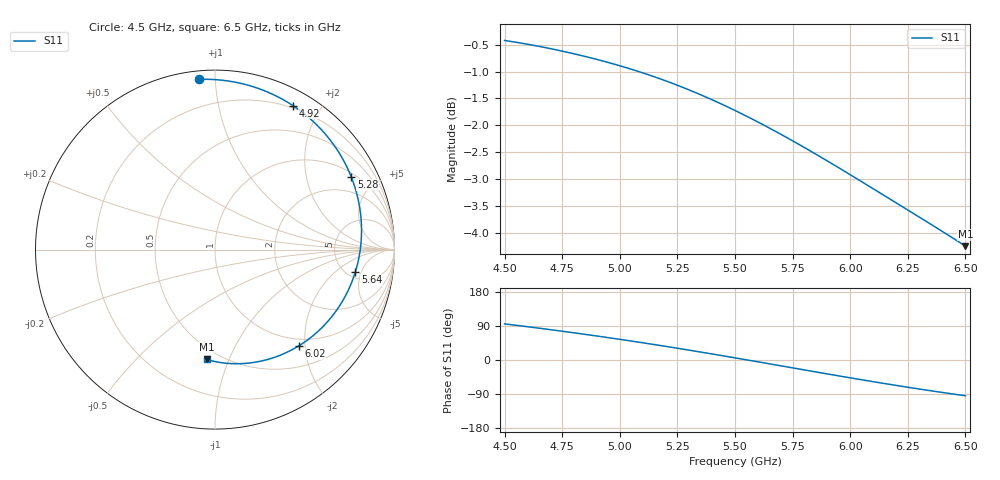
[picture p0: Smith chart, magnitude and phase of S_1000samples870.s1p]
! TOUCHSTONE file generated by CST MICROWAVE STUDIO
! Date and time: Sat Oct 29 15:55:34 2022
! Project name: L.cst
! Parameters = {Di=1.27; Epsilon_r=1.56; InnerDiameter=1.27; Length=2; Lf=10; Lg=60; OuterConductorThickness=0.2921; OuterDiameter=3.6; Wf=3; Wp=41.2; de=1.5; df=6.8; g=0.8; gx=2.91208; gy=4.71252; h=2.34; hf=1.524; px=11.8811; py=9.46617; w=9.7; wx=8.96901; wy=4.75365}
! Header version: 2018
! Port assignment regex: !\s*Touchstone port\s*([0-9]+)\s*=\s*(CST MWS port|CST DS port)\s*([0-9]+|Zmin|Zmax)\s*\(\"(.*)\"\)(\s*mode\s*([0-9]+))?.*
! Touchstone port assignment:
! Touchstone port 1 = CST MWS port 1 ("")
# GHz S DB R 50
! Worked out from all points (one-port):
!   101 points, 4.5 GHz to 6.5 GHz, reference 50 ohm
!   lowest |S11| = -4.2 dB at 6.5 GHz (marker M1), VSWR 4.18, Z = 21.2 - j41.6 ohm
!   |S11| at or under -10 dB: nowhere
!   S11 on the Smith chart (normalised r, x): 4.5 GHz: 0.04, +0.91; 4.92 GHz: 0.17, +1.66; 5.28 GHz: 1.17, +3.65; 5.64 GHz: 5.90, -3.95; 6.02 GHz: 0.86, -1.87; 6.5 GHz: 0.42, -0.83
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4.5  -0.42 95.3
4.58  -0.48 89.3
4.64  -0.53 84.7
4.76  -0.63 75.1
4.84  -0.71 68.5
4.92  -0.80 61.6
5  -0.89 54.5
5.06  -0.97 49.1
5.14  -1.08 41.6
5.2  -1.17 35.9
5.26  -1.27 30.0
5.28  -1.31 28.1
5.34  -1.41 22.1
5.4  -1.52 16.0
5.5  -1.72 5.7
5.56  -1.85 -0.6
5.64  -2.03 -9.1
5.7  -2.17 -15.5
5.76  -2.31 -21.8
5.88  -2.61 -34.5
5.94  -2.76 -40.8
6  -2.91 -47.0
6.02  -2.97 -49.1
6.08  -3.12 -55.2
6.14  -3.28 -61.2
6.26  -3.60 -72.8
6.38  -3.91 -83.9
6.5  -4.24 -94.3
